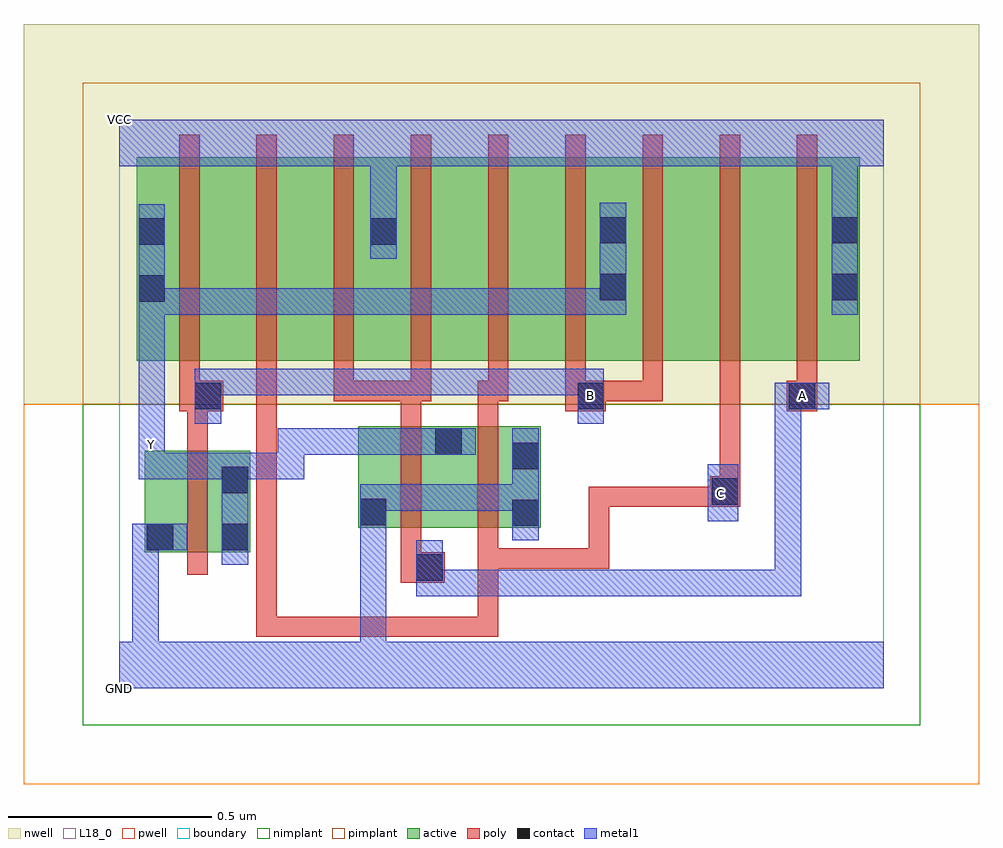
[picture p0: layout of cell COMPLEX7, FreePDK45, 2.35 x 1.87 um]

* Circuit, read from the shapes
.subckt COMPLEX7 A B C GND VCC Y
M1 Y B GND VSUBS nfet w=0.25u l=0.05u
M2 Y A GND VSUBS nfet w=0.25u l=0.05u
M3 GND C Y VSUBS nfet w=0.25u l=0.05u
M4 n1 B Y n2 pfet w=0.5u l=0.05u
M5 n3 C n1 n2 pfet w=0.5u l=0.05u
M6 VCC A n3 n2 pfet w=0.5u l=0.05u
M7 n4 A VCC n2 pfet w=0.5u l=0.05u
M8 n5 C n4 n2 pfet w=0.5u l=0.05u
M9 Y B n5 n2 pfet w=0.5u l=0.05u
M10 n6 B Y n2 pfet w=0.5u l=0.05u
M11 n7 C n6 n2 pfet w=0.5u l=0.05u
M12 VCC A n7 n2 pfet w=0.5u l=0.05u
.ends

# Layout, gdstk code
import gdstk
lib = gdstk.Library(unit=1e-6, precision=1e-09)
def R(c, l, rs):  # rectangles x0, y0, x1, y1
    for r in rs: c.add(gdstk.rectangle(r[:2], r[2:], *l))
def A(c, l, x, y, w, h, nx, ny, dx, dy):  # array of equal rectangles
    R(c, l, [(x+i*dx, y+j*dy, x+i*dx+w, y+j*dy+h) for i in range(nx) for j in range(ny)])
active = (1, 0)
pwell = (2, 0)
nwell = (3, 0)
nimplant = (4, 0)
pimplant = (5, 0)
poly = (9, 0)
contact = (10, 0)
metal1 = (11, 0)
L18_0 = (18, 0)
boundary = (235, 0)

complex7 = lib.new_cell('COMPLEX7')
A(complex7, active, 0.267, 0.807, 0.19, 0.5, 3, 1, 0.57, 0)
R(complex7, active, [(0.062,0.335,0.137,0.585), (0.062,0.335,0.322,0.585), (0.247,0.335,0.322,0.585), (0.587,0.395,0.662,0.645), (0.587,0.395,0.847,0.645), (0.772,0.395,0.847,0.645), (0.772,0.395,1.037,0.645), (0.962,0.395,1.037,0.645), (0.042,0.807,0.267,1.307), (0.042,0.807,0.147,1.2), (0.457,0.807,0.687,1.307), (0.612,0.807,0.687,1.255), (0.612,0.807,0.837,1.307), (1.027,0.807,1.252,1.307), (1.177,0.807,1.407,1.307), (1.177,0.807,1.252,1.2), (1.597,0.807,1.822,1.307), (1.747,0.807,1.822,1.255)])
R(complex7, pwell, [(-0.235,-0.235,2.115,0.7)])
R(complex7, nwell, [(-0.235,0.7,2.115,1.635)])
R(complex7, nimplant, [(-0.09,-0.09,1.97,0.7)])
R(complex7, pimplant, [(-0.09,0.7,1.97,1.49)])
A(complex7, poly, 0.527, 0.707, 0.05, 0.095, 5, 1, 0.19, 0)
A(complex7, poly, 0.147, 0.752, 0.05, 0.61, 9, 1, 0.19, 0)
R(complex7, poly, [(0.337,0.127,0.387,0.177), (0.337,0.127,0.387,0.177), (0.337,0.127,0.387,0.177), (0.337,0.127,0.387,0.177), (0.337,0.127,0.387,0.177), (0.337,0.127,0.387,0.177), (0.337,0.127,0.387,0.177), (0.337,0.127,0.387,0.177), (0.337,0.127,0.387,0.177), (0.337,0.127,0.387,0.177), (0.337,0.127,0.387,0.177), (0.337,0.127,0.61,0.177), (0.337,0.127,0.387,0.802), (0.56,0.127,0.61,0.177), (0.56,0.127,0.61,0.177), (0.56,0.127,0.61,0.177), (0.56,0.127,0.8,0.177), (0.75,0.127,0.8,0.177), (0.75,0.127,0.932,0.177), (0.882,0.127,0.932,0.177), (0.882,0.127,0.932,0.177), (0.882,0.127,0.932,0.177), (0.882,0.127,0.932,0.345), (0.692,0.26,0.8,0.335), (0.167,0.28,0.217,0.64), (0.692,0.285,0.742,0.39), (0.882,0.295,0.932,0.39), (0.882,0.295,0.932,0.345), (0.882,0.295,1.205,0.345), (1.155,0.295,1.205,0.345), (1.155,0.295,1.205,0.345), (1.155,0.295,1.205,0.345), (1.155,0.295,1.205,0.497), (0.692,0.34,0.742,0.7), (0.882,0.34,0.932,0.7), (1.155,0.447,1.205,0.497), (1.155,0.447,1.37,0.497), (1.32,0.447,1.37,0.497), (1.32,0.447,1.37,0.497), (1.32,0.447,1.37,0.497), (1.32,0.447,1.502,0.497), (1.452,0.447,1.527,0.522), (1.452,0.447,1.502,0.497), (1.452,0.447,1.502,0.497), (1.452,0.447,1.502,0.497), (1.452,0.447,1.502,0.497), (1.452,0.447,1.502,0.497), (1.452,0.447,1.502,0.497), (1.477,0.472,1.527,0.802), (0.167,0.59,0.217,0.732), (0.692,0.65,0.742,0.757), (0.882,0.65,0.932,0.757), (0.147,0.682,0.255,0.757), (1.097,0.682,1.197,0.757), (1.642,0.682,1.717,0.757), (0.147,0.707,0.197,0.802), (0.527,0.707,0.577,0.757), (0.527,0.707,0.577,0.757), (0.527,0.707,0.577,0.757), (0.527,0.707,0.742,0.757), (0.692,0.707,0.767,0.757), (0.882,0.707,0.957,0.757), (1.147,0.707,1.337,0.757), (1.287,0.707,1.337,0.757), (1.287,0.707,1.337,0.757), (1.287,0.707,1.337,0.757), (1.667,0.707,1.717,0.802)])
R(complex7, contact, [(0.73,0.265,0.795,0.33), (0.067,0.34,0.132,0.405), (0.252,0.34,0.317,0.405), (0.967,0.4,1.032,0.465), (0.592,0.402,0.657,0.467), (1.457,0.452,1.522,0.517), (0.252,0.48,0.317,0.545), (0.967,0.54,1.032,0.605), (0.777,0.575,0.842,0.64), (0.185,0.687,0.25,0.752), (1.127,0.687,1.192,0.752), (1.647,0.687,1.712,0.752), (0.047,0.952,0.112,1.017), (1.182,0.955,1.247,1.02), (1.752,0.955,1.817,1.02), (0.047,1.092,0.112,1.157), (0.617,1.092,0.682,1.157), (1.182,1.095,1.247,1.16), (1.752,1.095,1.817,1.16)])
R(complex7, metal1, [(0,0,1.88,0.115), (0.032,0.05,0.097,0.115), (0.032,0.05,0.097,0.115), (0.032,0.05,0.097,0.405), (0.592,0.05,0.657,0.115), (0.592,0.05,0.657,0.115), (0.592,0.05,0.657,0.432), (0.73,0.227,0.972,0.292), (0.73,0.227,0.795,0.295), (0.907,0.227,0.972,0.292), (0.907,0.227,1.11,0.292), (1.045,0.227,1.11,0.292), (1.045,0.227,1.11,0.292), (1.045,0.227,1.11,0.292), (1.045,0.227,1.33,0.292), (1.265,0.227,1.33,0.292), (1.265,0.227,1.33,0.292), (1.265,0.227,1.33,0.292), (1.265,0.227,1.33,0.292), (1.265,0.227,1.33,0.292), (1.265,0.227,1.33,0.292), (1.265,0.227,1.33,0.292), (1.265,0.227,1.467,0.292), (1.402,0.227,1.467,0.292), (1.402,0.227,1.467,0.292), (1.402,0.227,1.467,0.292), (1.402,0.227,1.677,0.292), (1.612,0.227,1.677,0.292), (1.612,0.227,1.677,0.752), (0.73,0.23,0.795,0.295), (0.73,0.23,0.795,0.365), (0.252,0.305,0.317,0.58), (0.032,0.34,0.097,0.405), (0.032,0.34,0.097,0.405), (0.032,0.34,0.097,0.405), (0.032,0.34,0.097,0.405), (0.032,0.34,0.167,0.405), (0.967,0.365,1.032,0.64), (0.592,0.367,0.657,0.432), (0.592,0.367,0.657,0.432), (0.592,0.367,0.657,0.432), (0.592,0.367,0.657,0.432), (0.592,0.367,0.657,0.502), (1.447,0.412,1.522,0.552), (0.592,0.437,0.795,0.502), (0.73,0.437,0.795,0.502), (0.73,0.437,0.795,0.502), (0.73,0.437,0.795,0.502), (0.73,0.437,0.972,0.502), (0.907,0.437,0.972,0.502), (0.907,0.437,1.032,0.502), (0.047,0.515,0.112,0.58), (0.047,0.515,0.112,0.58), (0.047,0.515,0.112,0.58), (0.047,0.515,0.317,0.58), (0.047,0.515,0.112,0.597), (0.252,0.515,0.455,0.58), (0.39,0.515,0.455,0.64), (0.047,0.532,0.112,0.667), (0.39,0.575,0.455,0.64), (0.39,0.575,0.455,0.64), (0.39,0.575,0.592,0.64), (0.527,0.575,0.592,0.64), (0.527,0.575,0.592,0.64), (0.527,0.575,0.592,0.64), (0.527,0.575,0.807,0.64), (0.742,0.575,0.807,0.64), (0.742,0.575,0.807,0.64), (0.742,0.575,0.877,0.64), (0.047,0.602,0.112,0.982), (0.185,0.652,0.25,0.787), (1.127,0.652,1.192,0.787), (1.612,0.687,1.677,0.752), (1.612,0.687,1.677,0.752), (1.612,0.687,1.747,0.752), (0.185,0.722,0.25,0.787), (0.185,0.722,0.25,0.787), (0.185,0.722,0.455,0.787), (0.39,0.722,0.455,0.787), (0.39,0.722,0.455,0.787), (0.39,0.722,0.455,0.787), (0.39,0.722,0.592,0.787), (0.527,0.722,0.592,0.787), (0.527,0.722,0.592,0.787), (0.527,0.722,0.592,0.787), (0.527,0.722,0.795,0.787), (0.73,0.722,0.795,0.787), (0.73,0.722,0.795,0.787), (0.73,0.722,0.795,0.787), (0.73,0.722,0.972,0.787), (0.907,0.722,0.972,0.787), (0.907,0.722,0.972,0.787), (0.907,0.722,0.972,0.787), (0.907,0.722,1.192,0.787), (0.047,0.917,0.112,1.192), (0.047,0.92,0.112,0.985), (0.047,0.92,0.112,0.985), (0.047,0.92,0.25,0.985), (0.185,0.92,0.25,0.985), (0.185,0.92,0.455,0.985), (0.39,0.92,0.455,0.985), (0.39,0.92,0.455,0.985), (0.39,0.92,0.455,0.985), (0.39,0.92,0.592,0.985), (0.527,0.92,0.592,0.985), (0.527,0.92,0.592,0.985), (0.527,0.92,0.592,0.985), (0.527,0.92,0.835,0.985), (0.77,0.92,0.835,0.985), (0.77,0.92,0.835,0.985), (0.77,0.92,0.835,0.985), (0.77,0.92,0.972,0.985), (0.907,0.92,0.972,0.985), (0.907,0.92,1.11,0.985), (1.045,0.92,1.11,0.985), (1.045,0.92,1.11,0.985), (1.045,0.92,1.11,0.985), (1.045,0.92,1.247,0.985), (1.182,0.92,1.247,1.195), (1.752,0.92,1.817,1.195), (0.617,1.057,0.682,1.192), (0.617,1.127,0.682,1.35), (1.752,1.13,1.817,1.35), (0,1.285,1.88,1.4)])
R(complex7, L18_0, [(0,0,1.88,0.115), (0.032,0.05,0.097,0.115), (0.032,0.05,0.097,0.115), (0.032,0.05,0.097,0.405), (0.592,0.05,0.657,0.115), (0.592,0.05,0.657,0.115), (0.592,0.05,0.657,0.432), (0.73,0.227,0.795,0.295), (0.73,0.227,0.972,0.292), (0.907,0.227,0.972,0.292), (0.907,0.227,1.11,0.292), (1.045,0.227,1.11,0.292), (1.045,0.227,1.11,0.292), (1.045,0.227,1.11,0.292), (1.045,0.227,1.33,0.292), (1.265,0.227,1.33,0.292), (1.265,0.227,1.33,0.292), (1.265,0.227,1.33,0.292), (1.265,0.227,1.33,0.292), (1.265,0.227,1.33,0.292), (1.265,0.227,1.33,0.292), (1.265,0.227,1.33,0.292), (1.265,0.227,1.467,0.292), (1.402,0.227,1.467,0.292), (1.402,0.227,1.467,0.292), (1.402,0.227,1.467,0.292), (1.402,0.227,1.677,0.292), (1.612,0.227,1.677,0.292), (1.612,0.227,1.677,0.752), (0.73,0.23,0.795,0.295), (0.73,0.23,0.795,0.365), (0.252,0.305,0.317,0.58), (0.032,0.34,0.097,0.405), (0.032,0.34,0.097,0.405), (0.032,0.34,0.097,0.405), (0.032,0.34,0.097,0.405), (0.032,0.34,0.167,0.405), (0.967,0.365,1.032,0.64), (0.592,0.367,0.657,0.432), (0.592,0.367,0.657,0.432), (0.592,0.367,0.657,0.432), (0.592,0.367,0.657,0.432), (0.592,0.367,0.657,0.502), (1.447,0.412,1.522,0.552), (0.592,0.437,0.795,0.502), (0.73,0.437,0.795,0.502), (0.73,0.437,0.795,0.502), (0.73,0.437,0.795,0.502), (0.73,0.437,0.972,0.502), (0.907,0.437,0.972,0.502), (0.907,0.437,1.032,0.502), (1.447,0.447,1.512,0.512), (0.047,0.515,0.112,0.58), (0.047,0.515,0.112,0.58), (0.047,0.515,0.112,0.58), (0.047,0.515,0.112,0.597), (0.047,0.515,0.317,0.58), (0.252,0.515,0.455,0.58), (0.39,0.515,0.455,0.64), (0.047,0.532,0.112,0.667), (0.047,0.567,0.112,0.632), (0.39,0.575,0.455,0.64), (0.39,0.575,0.455,0.64), (0.39,0.575,0.592,0.64), (0.527,0.575,0.592,0.64), (0.527,0.575,0.592,0.64), (0.527,0.575,0.592,0.64), (0.527,0.575,0.807,0.64), (0.742,0.575,0.807,0.64), (0.742,0.575,0.807,0.64), (0.742,0.575,0.877,0.64), (0.047,0.602,0.112,0.982), (0.185,0.652,0.25,0.787), (1.127,0.652,1.192,0.787), (1.127,0.687,1.192,0.752), (1.612,0.687,1.677,0.752), (1.612,0.687,1.677,0.752), (1.612,0.687,1.747,0.752), (1.647,0.687,1.712,0.752), (0.185,0.722,0.25,0.787), (0.185,0.722,0.25,0.787), (0.185,0.722,0.455,0.787), (0.39,0.722,0.455,0.787), (0.39,0.722,0.455,0.787), (0.39,0.722,0.455,0.787), (0.39,0.722,0.592,0.787), (0.527,0.722,0.592,0.787), (0.527,0.722,0.592,0.787), (0.527,0.722,0.592,0.787), (0.527,0.722,0.795,0.787), (0.73,0.722,0.795,0.787), (0.73,0.722,0.795,0.787), (0.73,0.722,0.795,0.787), (0.73,0.722,0.972,0.787), (0.907,0.722,0.972,0.787), (0.907,0.722,0.972,0.787), (0.907,0.722,0.972,0.787), (0.907,0.722,1.192,0.787), (0.047,0.917,0.112,1.192), (0.047,0.92,0.112,0.985), (0.047,0.92,0.112,0.985), (0.047,0.92,0.25,0.985), (0.185,0.92,0.25,0.985), (0.185,0.92,0.455,0.985), (0.39,0.92,0.455,0.985), (0.39,0.92,0.455,0.985), (0.39,0.92,0.455,0.985), (0.39,0.92,0.592,0.985), (0.527,0.92,0.592,0.985), (0.527,0.92,0.592,0.985), (0.527,0.92,0.592,0.985), (0.527,0.92,0.835,0.985), (0.77,0.92,0.835,0.985), (0.77,0.92,0.835,0.985), (0.77,0.92,0.835,0.985), (0.77,0.92,0.972,0.985), (0.907,0.92,0.972,0.985), (0.907,0.92,1.11,0.985), (1.045,0.92,1.11,0.985), (1.045,0.92,1.11,0.985), (1.045,0.92,1.11,0.985), (1.045,0.92,1.247,0.985), (1.182,0.92,1.247,1.195), (1.752,0.92,1.817,1.195), (0.617,1.057,0.682,1.192), (0.617,1.127,0.682,1.35), (1.752,1.13,1.817,1.35), (0,1.285,1.88,1.4)])
R(complex7, boundary, [(0,0,1.88,1.4)])
complex7.add(gdstk.Label('A', (1.68,0.72), layer=11, texttype=0))
complex7.add(gdstk.Label('B', (1.16,0.72), layer=11, texttype=0))
complex7.add(gdstk.Label('C', (1.48,0.48), layer=11, texttype=0))
complex7.add(gdstk.Label('Y', (0.08,0.6), layer=11, texttype=0))
complex7.add(gdstk.Label('VCC', (0,1.4), layer=11, texttype=0))
complex7.add(gdstk.Label('GND', (0,0), layer=11, texttype=0))

lib.write_gds('COMPLEX7.gds')
